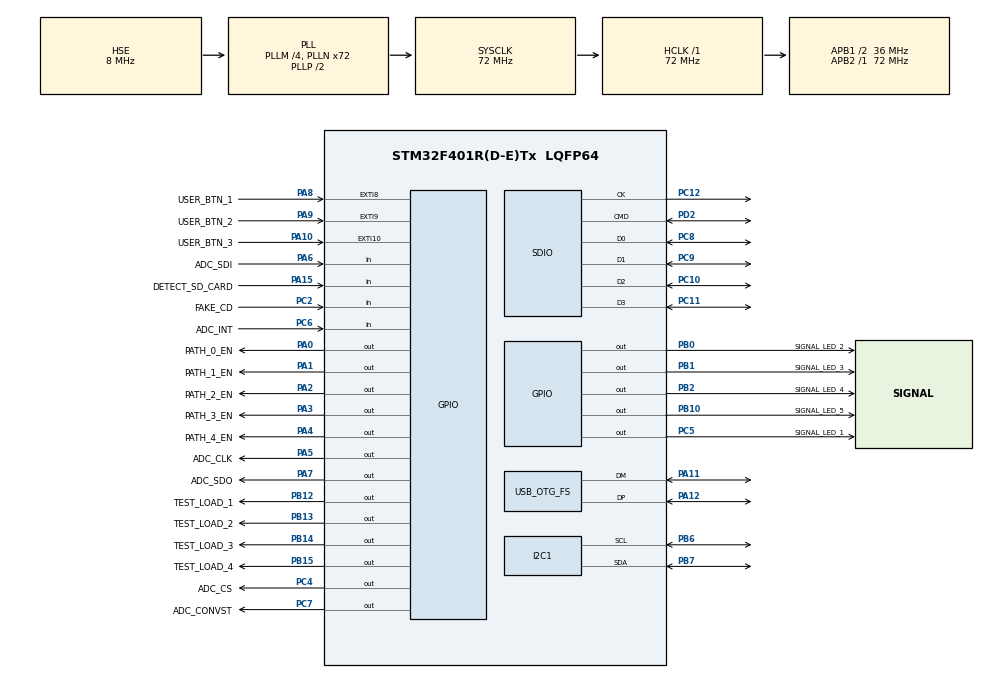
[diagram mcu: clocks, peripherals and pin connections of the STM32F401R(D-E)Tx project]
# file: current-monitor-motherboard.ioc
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FATFS.BSP.number=1
FATFS0.BSP.STBoard=false
FATFS0.BSP.api=Unknown
FATFS0.BSP.instance=PC2
FATFS0.BSP.ip=GPIO
FATFS0.BSP.mode=Input
FATFS0.BSP.name=Detect_SDIO
FATFS0.BSP.solution=PC2
Mcu.Family=STM32F4
Mcu.Name=STM32F401R(D-E)Tx
Mcu.Package=LQFP64
NVIC.EXTI15_10_IRQn=true\:0\:0\:false\:false\:true\:true\:true\:true
NVIC.EXTI9_5_IRQn=true\:0\:0\:false\:false\:true\:true\:true\:true
NVIC.OTG_FS_IRQn=true\:0\:0\:false\:false\:true\:false\:true\:true
NVIC.PriorityGroup=NVIC_PRIORITYGROUP_4
PA0-WKUP.GPIO_Label=PATH_0_EN
PA0-WKUP.GPIO_ModeDefaultOutputPP=GPIO_MODE_OUTPUT_PP
PA0-WKUP.GPIO_PuPd=GPIO_NOPULL
PA0-WKUP.PinState=GPIO_PIN_RESET
PA0-WKUP.Signal=GPIO_Output
PA1.GPIO_Label=PATH_1_EN
PA1.GPIO_ModeDefaultOutputPP=GPIO_MODE_OUTPUT_PP
PA1.GPIO_PuPd=GPIO_NOPULL
PA1.PinState=GPIO_PIN_RESET
PA1.Signal=GPIO_Output
PA10.GPIO_Label=USER_BTN_3
PA10.GPIO_ModeDefaultEXTI=GPIO_MODE_IT_FALLING
PA10.Signal=GPXTI10
PA11.Mode=Device_Only
PA11.Signal=USB_OTG_FS_DM
PA12.Mode=Device_Only
PA12.Signal=USB_OTG_FS_DP
PA13.Mode=Trace_Asynchronous_SW
PA13.Signal=SYS_JTMS-SWDIO
PA14.Mode=Trace_Asynchronous_SW
PA14.Signal=SYS_JTCK-SWCLK
PA15.GPIO_Label=DETECT_SD_CARD
PA15.GPIO_PuPd=GPIO_NOPULL
PA15.Signal=GPIO_Input
PA2.GPIO_Label=PATH_2_EN
PA2.GPIO_ModeDefaultOutputPP=GPIO_MODE_OUTPUT_PP
PA2.GPIO_PuPd=GPIO_NOPULL
PA2.PinState=GPIO_PIN_RESET
PA2.Signal=GPIO_Output
PA3.GPIO_Label=PATH_3_EN
PA3.GPIO_ModeDefaultOutputPP=GPIO_MODE_OUTPUT_PP
PA3.GPIO_PuPd=GPIO_NOPULL
PA3.PinState=GPIO_PIN_RESET
PA3.Signal=GPIO_Output
PA4.GPIO_Label=PATH_4_EN
PA4.GPIO_ModeDefaultOutputPP=GPIO_MODE_OUTPUT_PP
PA4.GPIO_PuPd=GPIO_NOPULL
PA4.PinState=GPIO_PIN_RESET
PA4.Signal=GPIO_Output
PA5.GPIO_Label=ADC_CLK
PA5.Signal=GPIO_Output
PA6.GPIO_Label=ADC_SDI
PA6.Signal=GPIO_Input
PA7.GPIO_Label=ADC_SDO
PA7.Signal=GPIO_Output
PA8.GPIO_Label=USER_BTN_1
PA8.GPIO_ModeDefaultEXTI=GPIO_MODE_IT_FALLING
PA8.Signal=GPXTI8
PA9.GPIO_Label=USER_BTN_2
PA9.GPIO_ModeDefaultEXTI=GPIO_MODE_IT_FALLING
PA9.Signal=GPXTI9
PB0.GPIO_Label=SIGNAL_LED_2
PB0.PinState=GPIO_PIN_RESET
PB0.Signal=GPIO_Output
PB1.GPIO_Label=SIGNAL_LED_3
PB1.PinState=GPIO_PIN_RESET
PB1.Signal=GPIO_Output
PB10.GPIO_Label=SIGNAL_LED_5
PB10.PinState=GPIO_PIN_RESET
PB10.Signal=GPIO_Output
PB12.GPIO_Label=TEST_LOAD_1
PB12.GPIO_ModeDefaultOutputPP=GPIO_MODE_OUTPUT_OD
PB12.GPIO_PuPd=GPIO_NOPULL
PB12.PinState=GPIO_PIN_RESET
PB12.Signal=GPIO_Output
PB13.GPIO_Label=TEST_LOAD_2
PB13.GPIO_ModeDefaultOutputPP=GPIO_MODE_OUTPUT_OD
PB13.GPIO_PuPd=GPIO_NOPULL
PB13.PinState=GPIO_PIN_RESET
PB13.Signal=GPIO_Output
PB14.GPIO_Label=TEST_LOAD_3
PB14.GPIO_ModeDefaultOutputPP=GPIO_MODE_OUTPUT_OD
PB14.GPIO_PuPd=GPIO_NOPULL
PB14.PinState=GPIO_PIN_RESET
PB14.Signal=GPIO_Output
PB15.GPIO_Label=TEST_LOAD_4
PB15.GPIO_ModeDefaultOutputPP=GPIO_MODE_OUTPUT_OD
PB15.GPIO_PuPd=GPIO_NOPULL
PB15.PinState=GPIO_PIN_RESET
PB15.Signal=GPIO_Output
PB2.GPIO_Label=SIGNAL_LED_4
PB2.PinState=GPIO_PIN_RESET
PB2.Signal=GPIO_Output
PB3.Mode=Trace_Asynchronous_SW
PB3.Signal=SYS_JTDO-SWO
PB6.Mode=I2C
PB6.Signal=I2C1_SCL
PB7.Mode=I2C
PB7.Signal=I2C1_SDA
PC10.Mode=SD_4_bits_Wide_bus
PC10.Signal=SDIO_D2
PC11.Mode=SD_4_bits_Wide_bus
PC11.Signal=SDIO_D3
PC12.Mode=SD_4_bits_Wide_bus
PC12.Signal=SDIO_CK
PC14-OSC32_IN.Mode=LSE-External-Oscillator
PC14-OSC32_IN.Signal=RCC_OSC32_IN
PC15-OSC32_OUT.Mode=LSE-External-Oscillator
PC15-OSC32_OUT.Signal=RCC_OSC32_OUT
PC2.GPIO_Label=FAKE_CD
PC2.Signal=GPIO_Input
PC4.GPIO_Label=ADC_CS
PC4.PinState=GPIO_PIN_SET
PC4.Signal=GPIO_Output
PC5.GPIO_Label=SIGNAL_LED_1
PC5.PinState=GPIO_PIN_RESET
PC5.Signal=GPIO_Output
PC6.GPIO_Label=ADC_INT
PC6.Signal=GPIO_Input
PC7.GPIO_Label=ADC_CONVST
PC7.PinState=GPIO_PIN_SET
PC7.Signal=GPIO_Output
PC8.Mode=SD_4_bits_Wide_bus
PC8.Signal=SDIO_D0
PC9.Mode=SD_4_bits_Wide_bus
PC9.Signal=SDIO_D1
PD2.Mode=SD_4_bits_Wide_bus
PD2.Signal=SDIO_CMD
PH0\ -\ OSC_IN.Mode=HSE-External-Oscillator
PH0\ -\ OSC_IN.Signal=RCC_OSC_IN
PH1\ -\ OSC_OUT.Mode=HSE-External-Oscillator
PH1\ -\ OSC_OUT.Signal=RCC_OSC_OUT
ProjectManager.HeapSize=0x200
ProjectManager.StackSize=0x400
ProjectManager.TargetToolchain=Makefile
RCC.48MHZClocksFreq_Value=48000000
RCC.AHBFreq_Value=72000000
RCC.APB1CLKDivider=RCC_HCLK_DIV2
RCC.APB1Freq_Value=36000000
RCC.APB1TimFreq_Value=72000000
RCC.APB2Freq_Value=72000000
RCC.APB2TimFreq_Value=72000000
RCC.CortexFreq_Value=72000000
RCC.HCLKFreq_Value=72000000
RCC.HSE_VALUE=8000000
RCC.HSI_VALUE=16000000
RCC.PLLM=4
RCC.PLLN=72
RCC.PLLQ=3
RCC.SYSCLKFreq_VALUE=72000000
RCC.SYSCLKSource=RCC_SYSCLKSOURCE_PLLCLK
RCC.VCOOutputFreq_Value=144000000
SDIO.ClockDiv=12
USB_DEVICE.CLASS_NAME_FS=CDC
USB_DEVICE.PID_CDC_FS=420
USB_DEVICE.PRODUCT_STRING_CDC_FS=Current Monitor
USB_DEVICE.VirtualMode-CDC_FS=Cdc
USB_DEVICE.VirtualModeFS=Cdc_FS
USB_OTG_FS.VirtualMode=Device_Only
VP_FATFS_VS_SDIO.Mode=SDIO
VP_USB_DEVICE_VS_USB_DEVICE_CDC_FS.Mode=CDC_FS
board=custom

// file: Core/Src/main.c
/* USER CODE BEGIN Header */
/**
  ******************************************************************************
  * @file           : main.c
  * @brief          : Main program body
  ******************************************************************************
  * @attention
  *
  * Copyright (c) 2022 STMicroelectronics.
  * All rights reserved.
  *
  * This software is licensed under terms that can be found in the LICENSE file
  * in the root directory of this software component.
  * If no LICENSE file comes with this software, it is provided AS-IS.
  *
  ******************************************************************************
  */
/* USER CODE END Header */
#include "main.h"
#include "fatfs.h"
#include "usb_device.h"

/* USER CODE BEGIN Includes */
#include "sd_card.h"
#include "usbd_cdc_if.h"
#include "lcd_display.h"
#include "mcp3421.h"
#include "ads7280.h"
#include "current_meter.h"
/* USER CODE END Includes */

I2C_HandleTypeDef hi2c1;

SD_HandleTypeDef hsd;

void SystemClock_Config(void);
static void MX_GPIO_Init(void);
static void MX_I2C1_Init(void);
static void MX_SDIO_SD_Init(void);

/* USER CODE BEGIN 0 */
char buffer[100];
int counter = 0;
FRESULT result;
uint8_t usbBuffer[] = "Hello USB!\n\r";
uint8_t debugBuffer[] = "Hello Debugger!\n\r";

int Debug_write(uint8_t * pointer, uint16_t length) {
	uint16_t i;

	for (i = 0; i < length; i++) {
		ITM_SendChar(*pointer++);
	}

	return i;
}

void SDCard_debug(char *log) {
//	HAL_UART_Transmit(&huart2, (uint8_t *)log, strlen(log), HAL_MAX_DELAY);
}
/* USER CODE END 0 */

int main(void)
{

  /* MCU Configuration--------------------------------------------------------*/

  /* Reset of all peripherals, Initializes the Flash interface and the Systick. */
  HAL_Init();

  /* Configure the system clock */
  SystemClock_Config();

  /* Initialize all configured peripherals */
  MX_GPIO_Init();
  MX_I2C1_Init();
  MX_SDIO_SD_Init();
  MX_USB_DEVICE_Init();
  MX_FATFS_Init();
  /* USER CODE BEGIN 2 */
  lcd_init();
	lcd_clear();

//  SDCard_capacity capacity = {0};
//
//  SDCard_mount("/");
//  SDCard_checkCapacity(&capacity);
//  result = SDCard_createFile("FILE1.TXT");
//
//  if (result != FR_OK) {
//	  Error_Handler();
//  }
//
//  result = SDCard_createFile("FILE2.TXT");
//
//  if (result != FR_OK) {
//	  Error_Handler();
//  }
//
//  SDCard_unmount("/");
//
//  Debug_write(debugBuffer, sizeof(debugBuffer));

  // Current Meter

  char Buffer[32];

  ADS7280_config adsCfg = { 0 };
  ADS7280_readConfig(&adsCfg);

  adsCfg.channelType = ADS7280_MANUAL_CHANNEL;
  adsCfg.triggerMode = ADS7280_MANUAL_TRIGGER;

  ADS7280_writeConfig(&adsCfg);
  ADS7280_readConfig(&adsCfg);
  ADS7280_selectInput1();

  // Voltage meter

  MCP3421_config config = {0};

  config.mode = MCP3421_MODE_CONTINUOUS;
  config.sampleRate = MCP3421_RATE_003_75;
  config.gain = MCP3421_GAIN_1X;

  MCP3421_writeConfig(&hi2c1, &config);
  HAL_Delay(100);

  /* USER CODE END 2 */

  /* Infinite loop */
  /* USER CODE BEGIN WHILE */

  CurrentMeter_currentValue currentValue = { 0 };
  uint8_t activePath = 255;

  while (1)
  {
    // USBD_StatusTypeDef status = CDC_Transmit_FS(usbBuffer, sizeof(usbBuffer));

    // for (uint8_t i = 1; i<128; i++) {
    //   uint8_t ret = HAL_I2C_IsDeviceReady(&hi2c1, (uint16_t)(i<<1), 3, 5);

    //   if (ret == HAL_OK) {
    //     sprintf(Buffer, "0x%X", i);
    //     CDC_Transmit_FS(Buffer, sizeof(Buffer));
    //   }
    // }

    uint32_t measurement = MCP3421_readMeasurement(&hi2c1);
    sprintf(Buffer, "V: %ldmV       \n", measurement);
    CDC_Transmit_FS((uint8_t *) Buffer, sizeof(Buffer));
    lcd_setCursor(0,0);
		lcd_send_string(Buffer);

    CurrentMeter_read(&currentValue);
    // CurrentMeter_actualize();
    uint8_t newPath = CurrentMeter_getActivePath();
    sprintf(Buffer, "I: %d     ", currentValue.raw);
    CDC_Transmit_FS((uint8_t *) Buffer, sizeof(Buffer));
    lcd_setCursor(0,1);
		lcd_send_string(Buffer);

    if (newPath != activePath) {
      sprintf(Buffer, "%d", newPath);
      lcd_setCursor(15,1);
      lcd_send_string(Buffer);

      activePath = newPath;
    }

    HAL_Delay(1);
    /* USER CODE END WHILE */

  }
}

void SystemClock_Config(void)
{
  RCC_OscInitTypeDef RCC_OscInitStruct = {0};
  RCC_ClkInitTypeDef RCC_ClkInitStruct = {0};

  /** Configure the main internal regulator output voltage
  */
  __HAL_RCC_PWR_CLK_ENABLE();
  __HAL_PWR_VOLTAGESCALING_CONFIG(PWR_REGULATOR_VOLTAGE_SCALE2);

  /** Initializes the RCC Oscillators according to the specified parameters
  * in the RCC_OscInitTypeDef structure.
  */
  RCC_OscInitStruct.OscillatorType = RCC_OSCILLATORTYPE_HSE;
  RCC_OscInitStruct.HSEState = RCC_HSE_ON;
  RCC_OscInitStruct.PLL.PLLState = RCC_PLL_ON;
  RCC_OscInitStruct.PLL.PLLSource = RCC_PLLSOURCE_HSE;
  RCC_OscInitStruct.PLL.PLLM = 4;
  RCC_OscInitStruct.PLL.PLLN = 72;
  RCC_OscInitStruct.PLL.PLLP = RCC_PLLP_DIV2;
  RCC_OscInitStruct.PLL.PLLQ = 3;
  if (HAL_RCC_OscConfig(&RCC_OscInitStruct) != HAL_OK)
  {
    Error_Handler();
  }

  /** Initializes the CPU, AHB and APB buses clocks
  */
  RCC_ClkInitStruct.ClockType = RCC_CLOCKTYPE_HCLK|RCC_CLOCKTYPE_SYSCLK
                              |RCC_CLOCKTYPE_PCLK1|RCC_CLOCKTYPE_PCLK2;
  RCC_ClkInitStruct.SYSCLKSource = RCC_SYSCLKSOURCE_PLLCLK;
  RCC_ClkInitStruct.AHBCLKDivider = RCC_SYSCLK_DIV1;
  RCC_ClkInitStruct.APB1CLKDivider = RCC_HCLK_DIV2;
  RCC_ClkInitStruct.APB2CLKDivider = RCC_HCLK_DIV1;

  if (HAL_RCC_ClockConfig(&RCC_ClkInitStruct, FLASH_LATENCY_2) != HAL_OK)
  {
    Error_Handler();
  }
}

static void MX_I2C1_Init(void)
{

  hi2c1.Instance = I2C1;
  hi2c1.Init.ClockSpeed = 100000;
  hi2c1.Init.DutyCycle = I2C_DUTYCYCLE_2;
  hi2c1.Init.OwnAddress1 = 0;
  hi2c1.Init.AddressingMode = I2C_ADDRESSINGMODE_7BIT;
  hi2c1.Init.DualAddressMode = I2C_DUALADDRESS_DISABLE;
  hi2c1.Init.OwnAddress2 = 0;
  hi2c1.Init.GeneralCallMode = I2C_GENERALCALL_DISABLE;
  hi2c1.Init.NoStretchMode = I2C_NOSTRETCH_DISABLE;
  if (HAL_I2C_Init(&hi2c1) != HAL_OK)
  {
    Error_Handler();
  }

}

static void MX_SDIO_SD_Init(void)
{

  hsd.Instance = SDIO;
  hsd.Init.ClockEdge = SDIO_CLOCK_EDGE_RISING;
  hsd.Init.ClockBypass = SDIO_CLOCK_BYPASS_DISABLE;
  hsd.Init.ClockPowerSave = SDIO_CLOCK_POWER_SAVE_DISABLE;
  hsd.Init.BusWide = SDIO_BUS_WIDE_4B;
  hsd.Init.HardwareFlowControl = SDIO_HARDWARE_FLOW_CONTROL_DISABLE;
  hsd.Init.ClockDiv = 12;

}

static void MX_GPIO_Init(void)
{
  GPIO_InitTypeDef GPIO_InitStruct = {0};

  /* GPIO Ports Clock Enable */
  __HAL_RCC_GPIOC_CLK_ENABLE();
  __HAL_RCC_GPIOH_CLK_ENABLE();
  __HAL_RCC_GPIOA_CLK_ENABLE();
  __HAL_RCC_GPIOB_CLK_ENABLE();
  __HAL_RCC_GPIOD_CLK_ENABLE();

  /*Configure GPIO pin Output Level */
  HAL_GPIO_WritePin(GPIOA, PATH_0_EN_Pin|PATH_1_EN_Pin|PATH_2_EN_Pin|PATH_3_EN_Pin
                          |PATH_4_EN_Pin|ADC_CLK_Pin|ADC_SDO_Pin, GPIO_PIN_RESET);

  /*Configure GPIO pin Output Level */
  HAL_GPIO_WritePin(GPIOC, ADC_CS_Pin|ADC_CONVST_Pin, GPIO_PIN_SET);

  /*Configure GPIO pin Output Level */
  HAL_GPIO_WritePin(SIGNAL_LED_1_GPIO_Port, SIGNAL_LED_1_Pin, GPIO_PIN_RESET);

  /*Configure GPIO pin Output Level */
  HAL_GPIO_WritePin(GPIOB, SIGNAL_LED_2_Pin|SIGNAL_LED_3_Pin|SIGNAL_LED_4_Pin|SIGNAL_LED_5_Pin
                          |TEST_LOAD_1_Pin|TEST_LOAD_2_Pin|TEST_LOAD_3_Pin|TEST_LOAD_4_Pin, GPIO_PIN_RESET);

  /*Configure GPIO pins : FAKE_CD_Pin ADC_INT_Pin */
  GPIO_InitStruct.Pin = FAKE_CD_Pin|ADC_INT_Pin;
  GPIO_InitStruct.Mode = GPIO_MODE_INPUT;
  GPIO_InitStruct.Pull = GPIO_NOPULL;
  HAL_GPIO_Init(GPIOC, &GPIO_InitStruct);

  /*Configure GPIO pins : PATH_0_EN_Pin PATH_1_EN_Pin PATH_2_EN_Pin PATH_3_EN_Pin
                           PATH_4_EN_Pin ADC_CLK_Pin ADC_SDO_Pin */
  GPIO_InitStruct.Pin = PATH_0_EN_Pin|PATH_1_EN_Pin|PATH_2_EN_Pin|PATH_3_EN_Pin
                          |PATH_4_EN_Pin|ADC_CLK_Pin|ADC_SDO_Pin;
  GPIO_InitStruct.Mode = GPIO_MODE_OUTPUT_PP;
  GPIO_InitStruct.Pull = GPIO_NOPULL;
  GPIO_InitStruct.Speed = GPIO_SPEED_FREQ_LOW;
  HAL_GPIO_Init(GPIOA, &GPIO_InitStruct);

  /*Configure GPIO pins : ADC_SDI_Pin DETECT_SD_CARD_Pin */
  GPIO_InitStruct.Pin = ADC_SDI_Pin|DETECT_SD_CARD_Pin;
  GPIO_InitStruct.Mode = GPIO_MODE_INPUT;
  GPIO_InitStruct.Pull = GPIO_NOPULL;
  HAL_GPIO_Init(GPIOA, &GPIO_InitStruct);

  /*Configure GPIO pins : ADC_CS_Pin SIGNAL_LED_1_Pin ADC_CONVST_Pin */
  GPIO_InitStruct.Pin = ADC_CS_Pin|SIGNAL_LED_1_Pin|ADC_CONVST_Pin;
  GPIO_InitStruct.Mode = GPIO_MODE_OUTPUT_PP;
  GPIO_InitStruct.Pull = GPIO_NOPULL;
  GPIO_InitStruct.Speed = GPIO_SPEED_FREQ_LOW;
  HAL_GPIO_Init(GPIOC, &GPIO_InitStruct);

  /*Configure GPIO pins : SIGNAL_LED_2_Pin SIGNAL_LED_3_Pin SIGNAL_LED_4_Pin SIGNAL_LED_5_Pin */
  GPIO_InitStruct.Pin = SIGNAL_LED_2_Pin|SIGNAL_LED_3_Pin|SIGNAL_LED_4_Pin|SIGNAL_LED_5_Pin;
  GPIO_InitStruct.Mode = GPIO_MODE_OUTPUT_PP;
  GPIO_InitStruct.Pull = GPIO_NOPULL;
  GPIO_InitStruct.Speed = GPIO_SPEED_FREQ_LOW;
  HAL_GPIO_Init(GPIOB, &GPIO_InitStruct);

  /*Configure GPIO pins : TEST_LOAD_1_Pin TEST_LOAD_2_Pin TEST_LOAD_3_Pin TEST_LOAD_4_Pin */
  GPIO_InitStruct.Pin = TEST_LOAD_1_Pin|TEST_LOAD_2_Pin|TEST_LOAD_3_Pin|TEST_LOAD_4_Pin;
  GPIO_InitStruct.Mode = GPIO_MODE_OUTPUT_OD;
  GPIO_InitStruct.Pull = GPIO_NOPULL;
  GPIO_InitStruct.Speed = GPIO_SPEED_FREQ_LOW;
  HAL_GPIO_Init(GPIOB, &GPIO_InitStruct);

  /*Configure GPIO pins : USER_BTN_1_Pin USER_BTN_2_Pin USER_BTN_3_Pin */
  GPIO_InitStruct.Pin = USER_BTN_1_Pin|USER_BTN_2_Pin|USER_BTN_3_Pin;
  GPIO_InitStruct.Mode = GPIO_MODE_IT_FALLING;
  GPIO_InitStruct.Pull = GPIO_NOPULL;
  HAL_GPIO_Init(GPIOA, &GPIO_InitStruct);

  /* EXTI interrupt init*/
  HAL_NVIC_SetPriority(EXTI9_5_IRQn, 0, 0);
  HAL_NVIC_EnableIRQ(EXTI9_5_IRQn);

  HAL_NVIC_SetPriority(EXTI15_10_IRQn, 0, 0);
  HAL_NVIC_EnableIRQ(EXTI15_10_IRQn);

}

void Error_Handler(void)
{
  __disable_irq();
}
